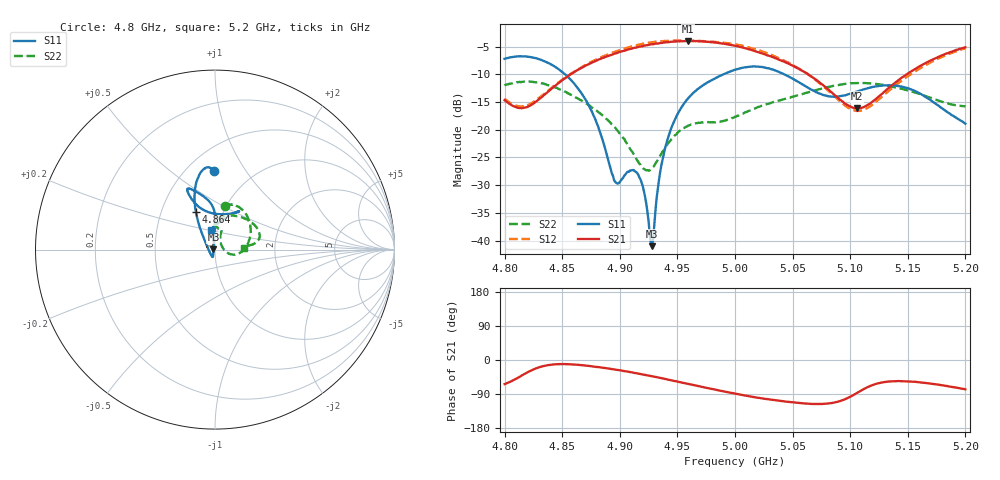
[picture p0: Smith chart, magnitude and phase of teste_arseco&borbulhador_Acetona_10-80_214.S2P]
! Network Analyzer HP8722D
! Hewlett-Packard
! Data name: Linha & Wilkinson
! Saver's name: Rodrigo Anjos
! Comments: Teste da utilização de aquisição
! continua pelo VNA HP8722D
! Time and date: 25/4/2025 17:03
!  Frequency  S11  S21  S12  S22
# HZ  S  MA R 50
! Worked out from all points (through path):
!   401 points, 4.8 GHz to 5.2 GHz, reference 50 ohm
!   highest |S21| = -3.98 dB at 4.959 GHz (marker M1); lowest = -16.1 dB at 5.106 GHz (marker M2)
!   lowest |S11| = -41.0 dB at 4.928 GHz (marker M3), VSWR 1.02, Z = 49.1 + j0.159 ohm
!   |S11| at or under -10 dB: 4.852 GHz to 4.99 GHz (137.5 MHz wide, 2.79 % of centre); 5.043 GHz to end of sweep
!   |S22| runs from -27.4 to -11.3 dB; largest |S21 - S12| = 1.2
!   S11 on the Smith chart (normalised r, x): 4.8 GHz: 0.67, +0.72; 4.864 GHz: 0.75, +0.33; 5.2 GHz: 0.93, +0.21
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4.8e9  0.4363 90.9  0.1847 -63.7  0.1901 69.8  0.2496 77.3
4.82e9  0.4548 97.2  0.1608 -32.2  0.1669 98.5  0.2724 61.7
4.843e9  0.3743 106.6  0.2454 -11.8  0.2487 118.9  0.2427 36.9
4.864e9  0.2343 117.0  0.3486 -12.8  0.3518 121.1  0.1901 12.2
4.867e9  0.2112 118.8  0.363 -13.7  0.3678 120.8  0.1831 8.6
4.88e9  0.1145 129.0  0.4211 -18.5  0.4324 118.3  0.1482 -5.1
4.896e9  0.03385 -170.1  0.4879 -25.3  0.5058 113.1  0.1043 -15.6
4.91e9  0.04295 -109.8  0.5374 -32.5  0.5635 107.1  0.06471 -12.6
4.917e9  0.03705 -106.4  0.5624 -36.2  0.5882 103.6  0.04939 0.6
4.921e9  0.02769 -111.4  0.5733 -38.6  0.5989 101.3  0.04423 13.3
4.926e9  0.01132 -141.5  0.5861 -41.6  0.6109 98.4  0.04295 32.8
4.928e9  0.008898 169.5  0.5906 -42.9  0.6146 97.1  0.04526 40.0
4.934e9  0.03517 101.6  0.6019 -46.8  0.6273 93.5  0.05621 57.7
4.944e9  0.09889 91.3  0.6207 -53.1  0.6356 86.9  0.08006 69.0
4.959e9  0.1905 90.0  0.6324 -62.8  0.6366 77.4  0.1084 70.6
5e9  0.3477 109.3  0.5715 -89.0  0.5907 50.9  0.1311 88.1
5.031e9  0.3529 115.4  0.4604 -104.7  0.4759 33.5  0.1741 84.5
5.067e9  0.2287 105.6  0.2992 -115.8  0.2973 23.6  0.2215 57.2
5.106e9  0.2211 65.4  0.1558 -86.8  0.1477 56.2  0.2634 24.8
5.134e9  0.2525 57.9  0.2413 -56.7  0.2266 88.8  0.2479 12.4
5.169e9  0.1871 70.8  0.4174 -62.0  0.401 84.8  0.1954 7.0
5.2e9  0.1134 101.1  0.5543 -77.4  0.5437 70.1  0.1622 3.7
